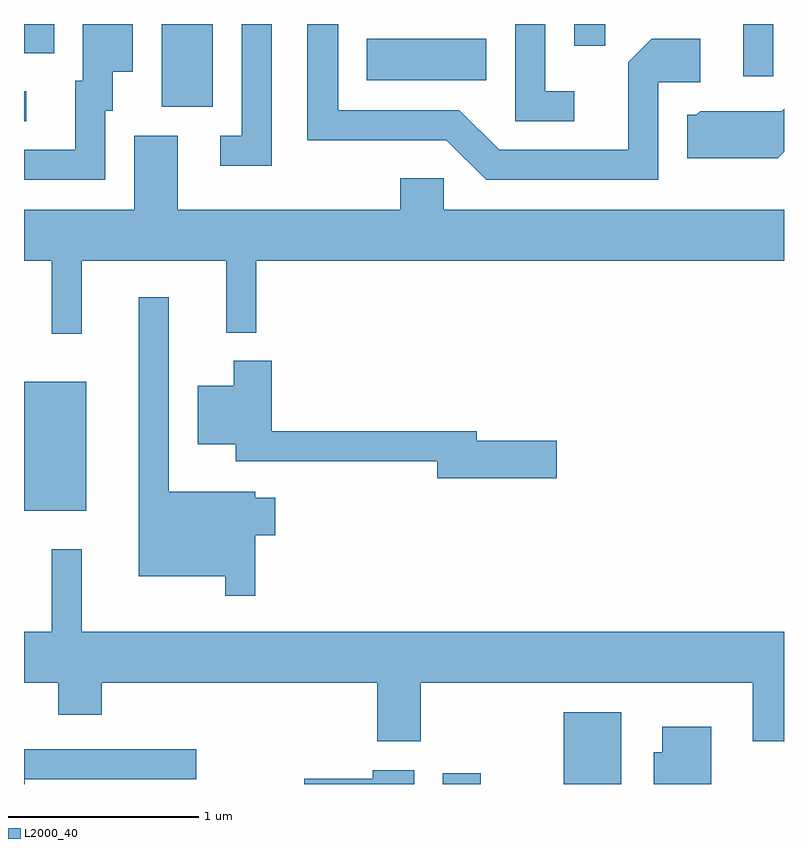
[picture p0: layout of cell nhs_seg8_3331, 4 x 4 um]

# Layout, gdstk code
import gdstk
lib = gdstk.Library(unit=1e-6, precision=1e-09)
def R(c, l, rs):  # rectangles x0, y0, x1, y1
    for r in rs: c.add(gdstk.rectangle(r[:2], r[2:], *l))
def P(c, l, *ps):  # polygons
    for p in ps: c.add(gdstk.Polygon(p, *l))
L2000_40 = (2000, 40)

nhs_seg8_3331 = lib.new_cell('nhs_seg8_3331')
R(nhs_seg8_3331, L2000_40, [(287.816,1820.342,288.014,1820.399), (288.451,1820.342,288.754,1820.719), (285.611,1821.781,285.939,1822.459), (285.611,1823.831,285.623,1823.989), (286.336,1823.906,286.604,1824.342), (287.416,1824.046,288.044,1824.264), (289.396,1824.068,289.554,1824.342), (285.611,1824.188,285.769,1824.342), (288.506,1824.228,288.669,1824.342)])
P(nhs_seg8_3331, L2000_40, [(288.949,1824.036),(289.169,1824.036),(289.169,1824.264),(288.914,1824.264),(288.791,1824.142),(288.791,1823.679),(288.112,1823.679),(287.902,1823.889),(287.264,1823.889),(287.264,1824.342),(287.101,1824.342),(287.101,1823.731),(287.834,1823.731),(288.044,1823.521),(288.949,1823.521)],
  [(286.914,1824.342),(286.756,1824.342),(286.756,1823.754),(286.643,1823.754),(286.643,1823.596),(286.914,1823.596)],
  [(286.039,1823.886),(286.079,1823.886),(286.079,1824.091),(286.184,1824.091),(286.184,1824.342),(285.921,1824.342),(285.921,1824.044),(285.881,1824.044),(285.881,1823.679),(285.611,1823.679),(285.611,1823.521),(286.039,1823.521)],
  [(288.508,1823.989),(288.354,1823.989),(288.354,1824.342),(288.196,1824.342),(288.196,1823.831),(288.508,1823.831)],
  [(289.611,1823.67),(289.611,1823.896),(289.599,1823.884),(289.169,1823.884),(289.149,1823.864),(289.101,1823.864),(289.101,1823.636),(289.577,1823.636)],
  [(285.914,1823.096),(286.676,1823.096),(286.676,1822.718),(286.834,1822.718),(286.834,1823.096),(289.611,1823.096),(289.611,1823.364),(287.819,1823.364),(287.819,1823.529),(287.591,1823.529),(287.591,1823.364),(286.419,1823.364),(286.419,1823.754),(286.191,1823.754),(286.191,1823.364),(285.611,1823.364),(285.611,1823.096),(285.756,1823.096),(285.756,1822.713),(285.914,1822.713)],
  [(286.829,1821.651),(286.934,1821.651),(286.934,1821.849),(286.829,1821.849),(286.829,1821.879),(286.374,1821.879),(286.374,1822.903),(286.216,1822.903),(286.216,1821.436),(286.671,1821.436),(286.671,1821.333),(286.829,1821.333)],
  [(288.414,1822.149),(287.994,1822.149),(287.994,1822.199),(286.914,1822.199),(286.914,1822.569),(286.716,1822.569),(286.716,1822.439),(286.526,1822.439),(286.526,1822.131),(286.726,1822.131),(286.726,1822.041),(287.786,1822.041),(287.786,1821.951),(288.414,1821.951)],
  [(287.699,1820.876),(289.446,1820.876),(289.446,1820.566),(289.611,1820.566),(289.611,1821.144),(285.914,1821.144),(285.914,1821.578),(285.756,1821.578),(285.756,1821.144),(285.611,1821.144),(285.611,1820.876),(285.791,1820.876),(285.791,1820.706),(286.019,1820.706),(286.019,1820.876),(287.471,1820.876),(287.471,1820.566),(287.699,1820.566)],
  [(289.229,1820.644),(288.971,1820.644),(288.971,1820.509),(288.926,1820.509),(288.926,1820.342),(289.229,1820.342)],
  [(285.614,1820.366),(286.518,1820.366),(286.518,1820.524),(285.611,1820.524),(285.611,1820.342),(285.614,1820.342)],
  [(287.664,1820.414),(287.446,1820.414),(287.446,1820.369),(287.086,1820.369),(287.086,1820.342),(287.664,1820.342)])

lib.write_gds('nhs_seg8_3331.gds')
